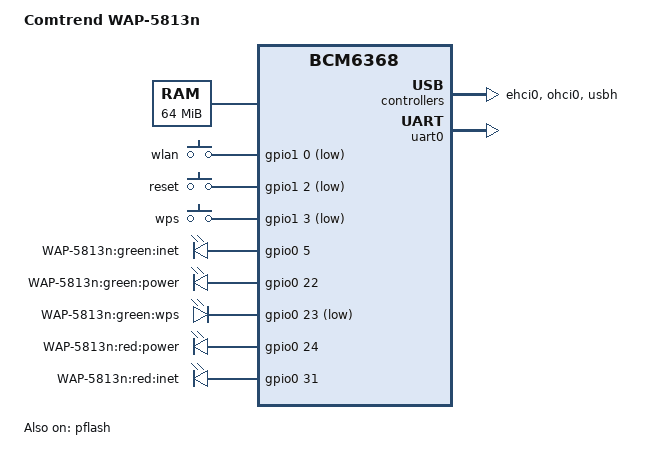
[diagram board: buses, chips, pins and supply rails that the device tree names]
/dts-v1/;

#include "bcm6368.dtsi"

/ {
	compatible = "comtrend,wap-5813n", "brcm,bcm6368";
	model = "Comtrend WAP-5813n";

	memory@0 {
		device_type = "memory";
		reg = <0x00000000 0x04000000>;
	};

	chosen {
		bootargs = "earlycon";
		stdout-path = "uart0:115200";
	};

	gpio-keys-polled {
		compatible = "gpio-keys-polled";
		#address-cells = <1>;
		#size-cells = <0>;
		poll-interval = <20>;
		debounce-interval = <60>;

		wlan {
			label = "wlan";
			gpios = <&gpio1 0 GPIO_ACTIVE_LOW>;
			linux,code = <KEY_WLAN>;
		};
		reset {
			label = "reset";
			gpios = <&gpio1 2 GPIO_ACTIVE_LOW>;
			linux,code = <KEY_RESTART>;
		};
		wps {
			label = "wps";
			gpios = <&gpio1 3 GPIO_ACTIVE_LOW>;
			linux,code = <KEY_WPS_BUTTON>;
		};
	};

	gpio-leds {
		compatible = "gpio-leds";

		inet_green {
			label = "WAP-5813n:green:inet";
			gpios = <&gpio0 5 GPIO_ACTIVE_HIGH>;
		};
		power_green {
			label = "WAP-5813n:green:power";
			gpios = <&gpio0 22 GPIO_ACTIVE_HIGH>;
			default-state = "on";
		};
		wps_green {
			label = "WAP-5813n:green:wps";
			gpios = <&gpio0 23 GPIO_ACTIVE_LOW>;
		};
		power_red {
			label = "WAP-5813n:red:power";
			gpios = <&gpio0 24 GPIO_ACTIVE_HIGH>;
		};
		inet_red {
			label = "WAP-5813n:red:inet";
			gpios = <&gpio0 31 GPIO_ACTIVE_HIGH>;
		};
	};
};

&ehci0 {
	status = "ok";
};

&ohci0 {
	status = "ok";
};

&pflash {
	status = "ok";

	partitions {
		cfe@0 {
			label = "CFE";
			reg = <0x000000 0x010000>;
			read-only;
		};
		linux@10000 {
			label = "linux";
			reg = <0x010000 0x7e0000>;
		};
		nvram@7f0000 {
			label = "nvram";
			reg = <0x7f0000 0x010000>;
		};
	};
};

&uart0 {
	status = "ok";
};

&usbh {
	status = "ok";
};
